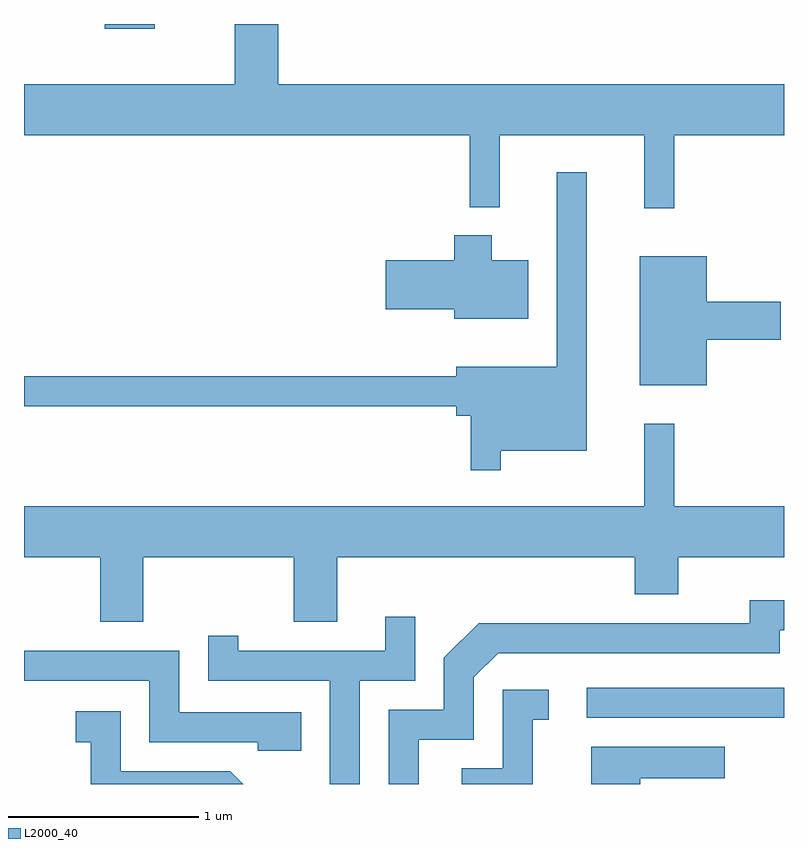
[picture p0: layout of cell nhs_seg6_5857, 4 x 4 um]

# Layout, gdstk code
import gdstk
lib = gdstk.Library(unit=1e-6, precision=1e-09)
def R(c, l, rs):  # rectangles x0, y0, x1, y1
    for r in rs: c.add(gdstk.rectangle(r[:2], r[2:], *l))
def P(c, l, *ps):  # polygons
    for p in ps: c.add(gdstk.Polygon(p, *l))
L2000_40 = (2000, 40)

nhs_seg6_5857 = lib.new_cell('nhs_seg6_5857')
R(nhs_seg6_5857, L2000_40, [(366.573,1562.511,367.611,1562.669), (364.036,1566.136,364.299,1566.162)])
P(nhs_seg6_5857, L2000_40, [(367.034,1565.576),(367.611,1565.576),(367.611,1565.844),(364.949,1565.844),(364.949,1566.162),(364.721,1566.162),(364.721,1565.844),(363.611,1565.844),(363.611,1565.576),(365.956,1565.576),(365.956,1565.198),(366.114,1565.198),(366.114,1565.576),(366.876,1565.576),(366.876,1565.193),(367.034,1565.193)],
  [(366.119,1563.916),(366.574,1563.916),(366.574,1565.383),(366.416,1565.383),(366.416,1564.359),(365.886,1564.359),(365.886,1564.309),(363.611,1564.309),(363.611,1564.151),(365.886,1564.151),(365.886,1564.101),(365.961,1564.101),(365.961,1563.813),(366.119,1563.813)],
  [(366.264,1564.919),(366.074,1564.919),(366.074,1565.049),(365.876,1565.049),(365.876,1564.919),(365.516,1564.919),(365.516,1564.661),(365.876,1564.661),(365.876,1564.611),(366.264,1564.611)],
  [(367.204,1564.501),(367.594,1564.501),(367.594,1564.699),(367.204,1564.699),(367.204,1564.939),(366.851,1564.939),(366.851,1564.261),(367.204,1564.261)],
  [(364.239,1563.356),(365.031,1563.356),(365.031,1563.016),(365.259,1563.016),(365.259,1563.356),(366.826,1563.356),(366.826,1563.161),(367.054,1563.161),(367.054,1563.356),(367.611,1563.356),(367.611,1563.624),(367.034,1563.624),(367.034,1564.058),(366.876,1564.058),(366.876,1563.624),(363.611,1563.624),(363.611,1563.356),(364.011,1563.356),(364.011,1563.016),(364.239,1563.016)],
  [(365.689,1562.396),(365.979,1562.396),(365.979,1562.724),(366.107,1562.851),(367.589,1562.851),(367.589,1562.971),(367.611,1562.971),(367.611,1563.129),(367.431,1563.129),(367.431,1563.009),(366.004,1563.009),(365.821,1562.827),(365.821,1562.554),(365.531,1562.554),(365.531,1562.162),(365.689,1562.162)],
  [(365.379,1562.706),(365.669,1562.706),(365.669,1563.043),(365.511,1563.043),(365.511,1562.864),(364.739,1562.864),(364.739,1562.943),(364.581,1562.943),(364.581,1562.706),(365.221,1562.706),(365.221,1562.162),(365.379,1562.162)],
  [(365.069,1562.539),(364.429,1562.539),(364.429,1562.864),(363.611,1562.864),(363.611,1562.706),(364.271,1562.706),(364.271,1562.381),(364.841,1562.381),(364.841,1562.336),(365.069,1562.336)],
  [(366.289,1562.501),(366.373,1562.501),(366.373,1562.659),(366.131,1562.659),(366.131,1562.244),(365.916,1562.244),(365.916,1562.162),(366.289,1562.162)],
  [(364.697,1562.229),(364.119,1562.229),(364.119,1562.544),(363.883,1562.544),(363.883,1562.381),(363.961,1562.381),(363.961,1562.162),(364.764,1562.162)],
  [(366.854,1562.191),(367.298,1562.191),(367.298,1562.359),(366.596,1562.359),(366.596,1562.162),(366.854,1562.162)])

lib.write_gds('nhs_seg6_5857.gds')
